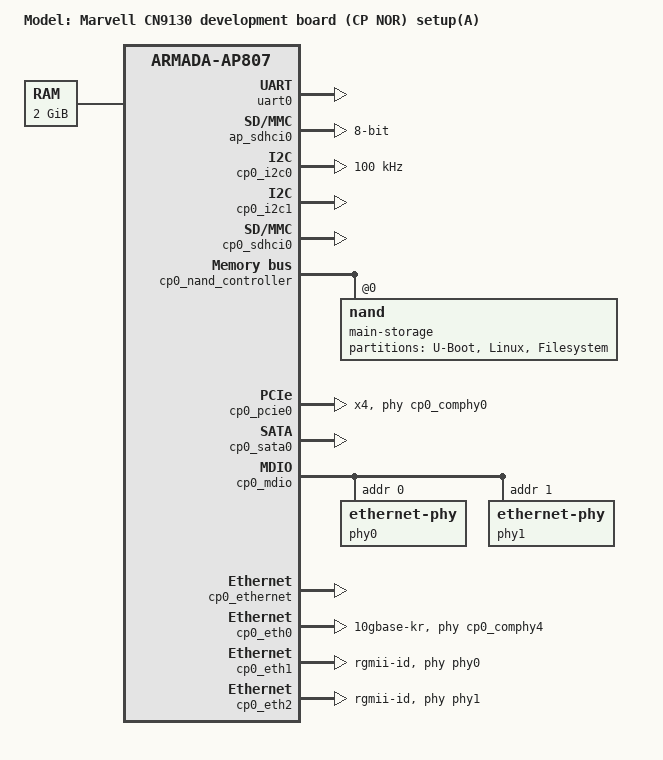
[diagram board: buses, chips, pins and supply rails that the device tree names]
/*
 * Copyright (C) 2018 Marvell International Ltd.
 *
 * SPDX-License-Identifier:    GPL-2.0
 * https://spdx.org/licenses
 */

#include "cn9130-db.dtsi"

/ {
        model = "Model: Marvell CN9130 development board (CP NOR) setup(A)";
        compatible = "marvell,cn9130-db-A", "marvell,armada-ap807-quad",
                     "marvell,armada-ap807";

        chosen {
                stdout-path = "serial0:115200n8";
        };

        aliases {
                i2c0 = &cp0_i2c0;
                ethernet0 = &cp0_eth0;
                ethernet1 = &cp0_eth1;
                ethernet2 = &cp0_eth2;
        };

        memory@00000000 {
                device_type = "memory";
                reg = <0x0 0x0 0x0 0x80000000>;
        };
};

&uart0 {
        status = "okay";
};

/* on-board eMMC - U9 */
&ap_sdhci0 {
        pinctrl-names = "default";
        bus-width = <8>;
        status = "okay";
        vqmmc-supply = <&ap0_reg_sd_vccq>;
};

/*
 * CP related configuration
 */
&cp0_i2c0 {
        pinctrl-names = "default";
        pinctrl-0 = <&cp0_i2c0_pins>;
        status = "okay";
        clock-frequency = <100000>;
};

&cp0_i2c1 {
        status = "okay";
};

/* CON 28 */
&cp0_sdhci0 {
        status = "okay";
};

/* U54 */
&cp0_nand_controller {
        pinctrl-names = "default";
        pinctrl-0 = <&nand_pins>;

        nand@0 {
                reg = <0>;
                label = "main-storage";
                nand-rb = <0>;
                nand-ecc-mode = "hw";
                nand-on-flash-bbt;
                nand-ecc-strength = <8>;
                nand-ecc-step-size = <512>;

                partitions {
                        compatible = "fixed-partitions";
                        #address-cells = <1>;
                        #size-cells = <1>;

                        partition@0 {
                                label = "U-Boot";
                                reg = <0 0x200000>;
                        };
                        partition@200000 {
                                label = "Linux";
                                reg = <0x200000 0xd00000>;
                        };
                        partition@1000000 {
                                label = "Filesystem";
                                reg = <0x1000000 0x3f000000>;
                        };
                };
        };
};

/* U55 */
&cp0_spi1 {
        pinctrl-names = "default";
        pinctrl-0 = <&cp0_spi0_pins>;
        reg = <0x700680 0x50>,                /* control */
              <0x2000000 0x1000000>;        /* CS0 */
        status = "disabled";

        spi-flash@0 {
                #address-cells = <0x1>;
                #size-cells = <0x1>;
                compatible = "jedec,spi-nor";
                reg = <0x0>;
                /* On-board MUX does not allow higher frequencies */
                spi-max-frequency = <40000000>;

                partitions {
                        compatible = "fixed-partitions";
                        #address-cells = <1>;
                        #size-cells = <1>;

                        partition@0 {
                                label = "U-Boot";
                                reg = <0x0 0x200000>;
                        };

                        partition@400000 {
                                label = "Filesystem";
                                reg = <0x200000 0xe00000>;
                        };
                };
        };
};

/* SLM-1521-V2, CON6 */
&cp0_pcie0 {
        status = "okay";
        num-lanes = <4>;
        num-viewport = <8>;
        /* Generic PHY, providing serdes lanes */
        phys = <&cp0_comphy0 0
                &cp0_comphy1 0
                &cp0_comphy2 0
                &cp0_comphy3 0>;
};

&cp0_sata0 {
        status = "okay";
        /* SLM-1521-V2, CON2 */
};

&cp0_mdio {
        status = "okay";
        phy0: ethernet-phy@0 {
                reg = <0>;
        };
        phy1: ethernet-phy@1 {
                reg = <1>;
        };
};

&cp0_ethernet {
        status = "okay";
};

/* SLM-1521-V2, CON9 */
&cp0_eth0 {
        status = "okay";
        phy-mode = "10gbase-kr";
        /* Generic PHY, providing serdes lanes */
        phys = <&cp0_comphy4 0>;
        managed = "in-band-status";
        sfp = <&cp0_sfp_eth0>;
};

/* CON56 */
&cp0_eth1 {
        status = "okay";
        phy = <&phy0>;
        phy-mode = "rgmii-id";
};

/* CON57 */
&cp0_eth2 {
        status = "okay";
        phy = <&phy1>;
        phy-mode = "rgmii-id";
};
